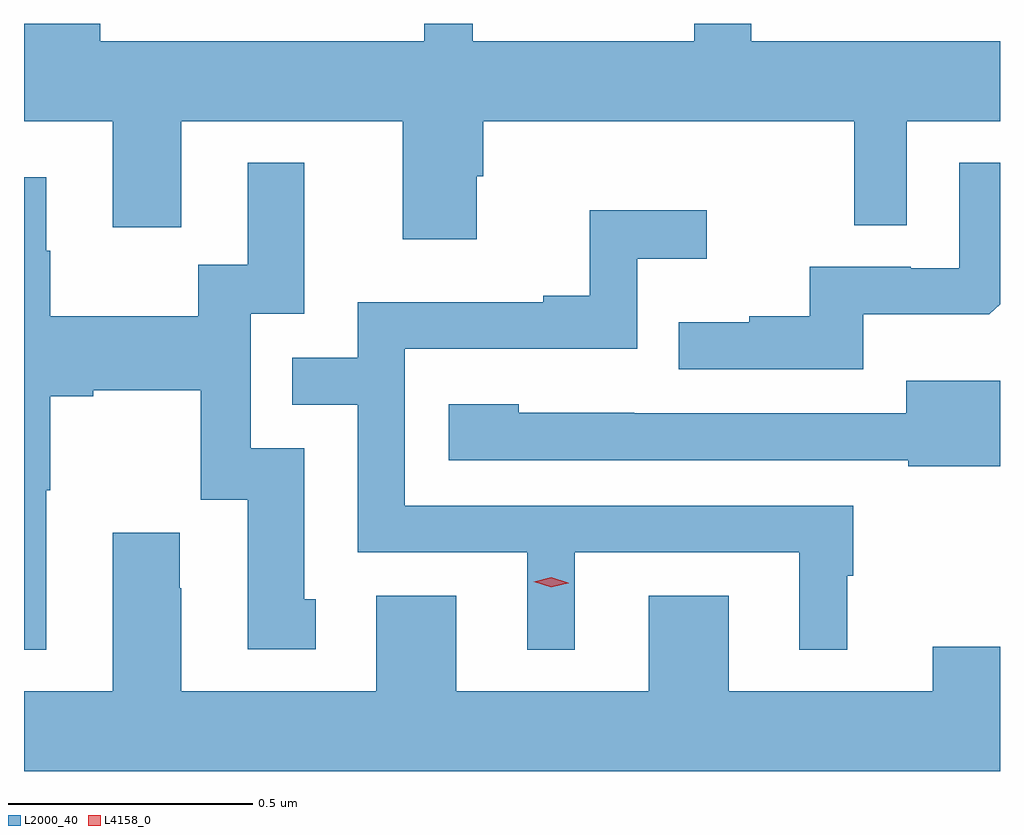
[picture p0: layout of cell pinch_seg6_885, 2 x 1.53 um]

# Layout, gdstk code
import gdstk
lib = gdstk.Library(unit=1e-6, precision=1e-09)
def P(c, l, *ps):  # polygons
    for p in ps: c.add(gdstk.Polygon(p, *l))
L2000_40 = (2000, 40)
L4158_0 = (4158, 0)

pinch_seg6_885 = lib.new_cell('pinch_seg6_885')
P(pinch_seg6_885, L2000_40, [(172.669,963.207),(172.682,963.207),(172.682,963.32),(173.442,963.32),(173.442,963.106),(173.55,963.106),(173.55,963.32),(173.741,963.32),(173.741,963.484),(173.231,963.484),(173.231,963.519),(173.114,963.519),(173.114,963.484),(172.661,963.484),(172.661,963.519),(172.561,963.519),(172.561,963.484),(171.897,963.484),(171.897,963.519),(171.742,963.519),(171.742,963.484),(171.741,963.484),(171.741,963.32),(171.923,963.32),(171.923,963.102),(172.063,963.102),(172.063,963.32),(172.517,963.32),(172.517,963.078),(172.669,963.078)],
  [(173.461,962.924),(173.719,962.924),(173.741,962.945),(173.741,963.235),(173.658,963.235),(173.658,963.018),(173.558,963.018),(173.558,963.021),(173.351,963.021),(173.351,962.92),(173.227,962.92),(173.227,962.908),(173.083,962.908),(173.083,962.811),(173.461,962.811)],
  [(171.787,962.563),(171.795,962.563),(171.795,962.756),(171.883,962.756),(171.883,962.768),(172.103,962.768),(172.103,962.544),(172.199,962.544),(172.199,962.238),(172.339,962.238),(172.339,962.34),(172.315,962.34),(172.315,962.649),(172.206,962.649),(172.206,962.925),(172.315,962.925),(172.315,963.235),(172.199,963.235),(172.199,963.026),(172.098,963.026),(172.098,962.92),(171.795,962.92),(171.795,963.054),(171.787,963.054),(171.787,963.205),(171.741,963.205),(171.741,962.237),(171.787,962.237)],
  [(172.87,962.436),(173.33,962.436),(173.33,962.237),(173.428,962.237),(173.428,962.388),(173.44,962.388),(173.44,962.532),(172.521,962.532),(172.521,962.853),(172.998,962.853),(172.998,963.038),(173.14,963.038),(173.14,963.137),(172.9,963.137),(172.9,962.962),(172.805,962.962),(172.805,962.949),(172.425,962.949),(172.425,962.835),(172.291,962.835),(172.291,962.739),(172.425,962.739),(172.425,962.436),(172.772,962.436),(172.772,962.237),(172.87,962.237)],
  [(173.741,962.788),(173.549,962.788),(173.549,962.721),(172.991,962.721),(172.991,962.722),(172.755,962.722),(172.755,962.74),(172.611,962.74),(172.611,962.625),(173.553,962.625),(173.553,962.613),(173.741,962.613)],
  [(173.741,962.243),(173.603,962.243),(173.603,962.152),(173.185,962.152),(173.185,962.347),(173.021,962.347),(173.021,962.152),(172.627,962.152),(172.627,962.347),(172.463,962.347),(172.463,962.152),(172.063,962.152),(172.063,962.363),(172.06,962.363),(172.06,962.476),(171.923,962.476),(171.923,962.152),(171.741,962.152),(171.741,961.988),(173.741,961.988)])
P(pinch_seg6_885, L4158_0, [(172.821,962.365),(172.786,962.376),(172.785,962.376),(172.786,962.376),(172.821,962.385),(172.856,962.374),(172.857,962.373),(172.856,962.373)])

lib.write_gds('pinch_seg6_885.gds')
